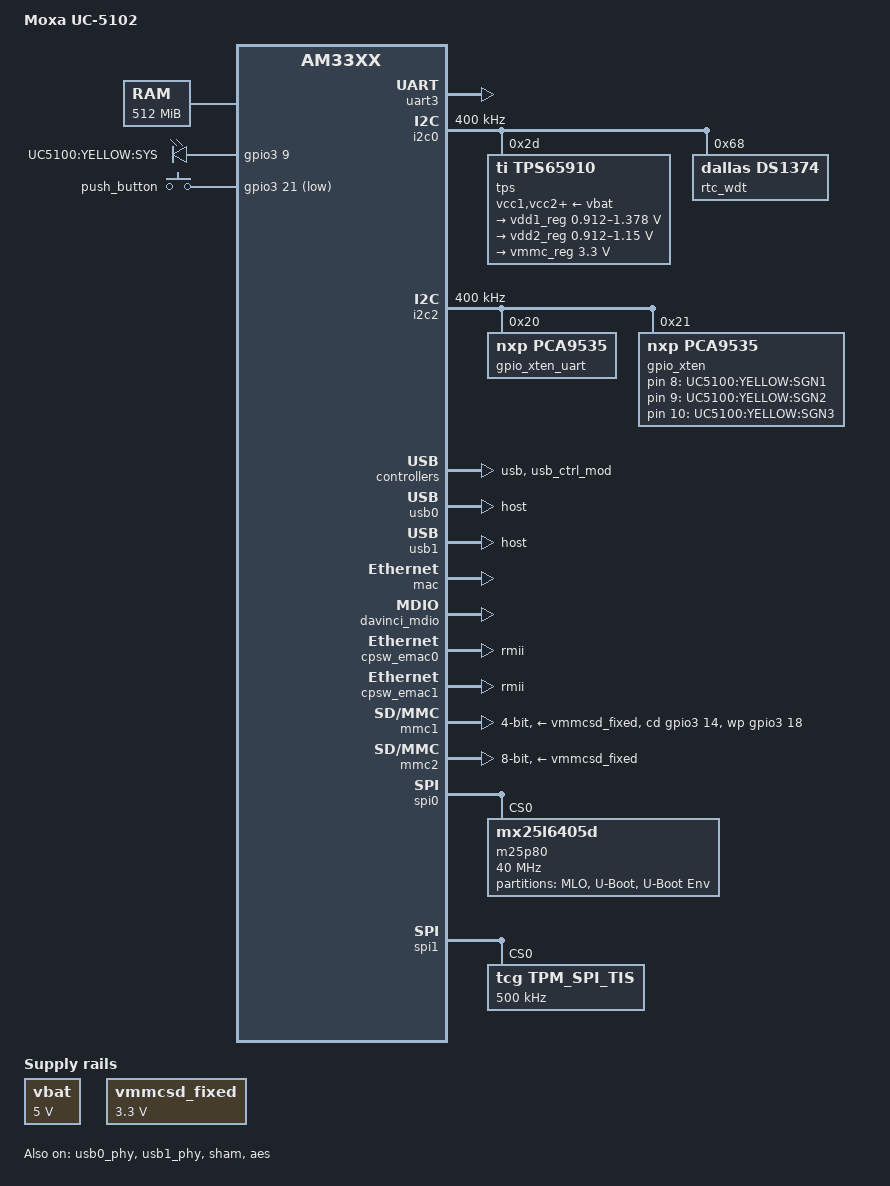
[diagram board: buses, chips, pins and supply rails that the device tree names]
/*
 * Copyright (C) 2017 MOXA Inc. - https://www.moxa.com/
 *
 * Author: Wes Huang (黃淵河) <wes.huang@moxa.com>
 *
 * This program is free software; you can redistribute it and/or modify
 * it under the terms of the GNU General Public License version 2 as
 * published by the Free Software Foundation.
 */

/dts-v1/;

#include "am33xx.dtsi"

/ {
	model = "Moxa UC-5102";
	compatible = "moxa,uc-5102", "ti,am33xx";

	cpus {
		cpu@0 {
			cpu0-supply = <&vdd1_reg>;
		};
	};

	cpu0_opp_table: opp_table0 {
		opp50@300000000 {
			status = "okay";
		};

		opp100@275000000 {
			status = "disabled";
		};

		opp100@300000000 {
			status = "disabled";
		};

		opp100@500000000 {
			status = "disabled";
		};

		opp100@600000000 {
			status = "okay";
		};

		opp120@600000000 {
			status = "disabled";
		};

		opp120@720000000 {
			status = "okay";
		};

		oppturbo@720000000 {
			status = "disabled";
		};

		oppturbo@800000000 {
			status = "disabled";
		};

		oppnitro@1000000000 {
			status = "okay";
		};
	};

	memory {
		device_type = "memory";
		reg = <0x80000000 0x20000000>; /* 512 MB */
	};

	vbat: fixedregulator@0 {
		compatible = "regulator-fixed";
	};

	/* Power supply provides a fixed 3.3V @3A */
	vmmcsd_fixed: fixedregulator@1 {
	      compatible = "regulator-fixed";
	      regulator-name = "vmmcsd_fixed";
	      regulator-min-microvolt = <3300000>;
	      regulator-max-microvolt = <3300000>;
	      regulator-boot-on;
	};

	leds {
		compatible = "gpio-leds";

		led@1 {
			label = "UC5100:YELLOW:SGN1";
			gpios = <&gpio_xten 8 0>;
			default-state = "off";
		};

		led@2 {
			label = "UC5100:YELLOW:SGN2";
			gpios = <&gpio_xten 9 0>;
			default-state = "off";
		};

		led@3 {
			label = "UC5100:YELLOW:SGN3";
			gpios = <&gpio_xten 10 0>;
			default-state = "off";
		};

		led@4 {
			label = "UC5100:YELLOW:SYS";
			gpios = <&gpio3 9 GPIO_ACTIVE_HIGH>;
			default-state = "off";
		};
	};

	buttons: push_button {
		compatible = "gpio-keys";
	};
};

&am33xx_pinmux {
	pinctrl-names = "default";

	push_button_pins: pinmux_push_button {
		pinctrl-single,pins = <
			AM33XX_IOPAD(0x9ac, PIN_INPUT_PULLUP | MUX_MODE7)  /* mcasp0_ahcklx.gpio3_21 */
		>;
	};

	i2c0_pins: pinmux_i2c0_pins {
		pinctrl-single,pins = <
			AM33XX_IOPAD(0x988, PIN_INPUT_PULLUP | MUX_MODE0)    /* i2c0_sda.i2c0_sda */
			AM33XX_IOPAD(0x98c, PIN_INPUT_PULLUP | MUX_MODE0)    /* i2c0_scl.i2c0_scl */
		>;
	};

	i2c2_pins: pinmux_i2c2_pins {
		pinctrl-single,pins = <
			AM33XX_IOPAD(0x978, PIN_INPUT_PULLUP | MUX_MODE3)	/* uart1_ctsn.i2c2_sda */
			AM33XX_IOPAD(0x97C, PIN_INPUT_PULLUP | MUX_MODE3)	/* uart1_rtsn.i2c2_scl*/
		>;
	};

	uart3_pins: pinmux_uart3_pins {
		/* Console */
		pinctrl-single,pins = <
			AM33XX_IOPAD(0x934, PIN_INPUT_PULLUP | MUX_MODE1)	/* mii1_rxd3.uart3_rxd */
			AM33XX_IOPAD(0x938, PIN_OUTPUT_PULLDOWN | MUX_MODE1)	/* mii1_rxd2.uart3_txd */
		>;
	};

	cpsw_default: cpsw_default {
		pinctrl-single,pins = <
			/* Slave 1 */
			AM33XX_IOPAD(0x90c, PIN_INPUT_PULLDOWN | MUX_MODE1)    	/* mii1_crs.rmii1_crs_dv */
			AM33XX_IOPAD(0x910, PIN_INPUT_PULLUP | MUX_MODE1)    	/* mii1_rx_er.rmii1_rxerr */
			AM33XX_IOPAD(0x914, PIN_OUTPUT_PULLDOWN | MUX_MODE1)   	/* mii1_tx_en.rmii1_rxen */
			AM33XX_IOPAD(0x924, PIN_OUTPUT_PULLDOWN | MUX_MODE1)  	/* mii1_txd1.rmii1_txd1 */
			AM33XX_IOPAD(0x928, PIN_OUTPUT_PULLDOWN | MUX_MODE1)	/* mii1_txd0.rmii1_txd0 */
			AM33XX_IOPAD(0x93c, PIN_INPUT_PULLUP | MUX_MODE1)    	/* mii1_rxd1.rmii1_rxd1 */
			AM33XX_IOPAD(0x940, PIN_INPUT_PULLUP | MUX_MODE1)    	/* mi11_rxd0.rmii1_rxd0 */
			AM33XX_IOPAD(0x944, PIN_INPUT_PULLDOWN | MUX_MODE0)    	/* rmii1_ref_clk.rmii1_ref_clk */

			/* Slave 2 */
			AM33XX_IOPAD(0x870, PIN_INPUT_PULLDOWN | MUX_MODE3)   	/* gpmc_wait0.rmii2_crs_dv */
			AM33XX_IOPAD(0x874, PIN_INPUT_PULLDOWN | MUX_MODE3)   	/* gpmc_wpn.rmii2_rxerr */
			AM33XX_IOPAD(0x840, PIN_OUTPUT_PULLDOWN | MUX_MODE3)   	/* gpmc_a0.rmii2_txen */
			AM33XX_IOPAD(0x850, PIN_OUTPUT_PULLDOWN | MUX_MODE3)   	/* gpmc_a4.rmii2_txd1 */
			AM33XX_IOPAD(0x854, PIN_OUTPUT_PULLDOWN | MUX_MODE3)   	/* gpmc_a5.rmii2_txd0 */
			AM33XX_IOPAD(0x868, PIN_INPUT_PULLDOWN | MUX_MODE3)   	/* gpmc_a10.rmii2_rxd1 */
			AM33XX_IOPAD(0x86c, PIN_INPUT_PULLDOWN | MUX_MODE3)   	/* gpmc_a10.rmii2_rxd0 */
			AM33XX_IOPAD(0x908, PIN_INPUT_PULLDOWN | MUX_MODE1)   	/* mii1_col.rmii2_ref_clk */
		>;
	};

	davinci_mdio_default: davinci_mdio_default {
		pinctrl-single,pins = <
			/* MDIO */
			AM33XX_IOPAD(0x948, PIN_INPUT_PULLUP | SLEWCTRL_FAST | MUX_MODE0)	/* mdio_data.mdio_data */
			AM33XX_IOPAD(0x94c, PIN_OUTPUT_PULLUP | MUX_MODE0)			/* mdio_clk.mdio_clk */
		>;
	};

	mmc0_pins_default: pinmux_mmc0_pins {
	pinctrl-single,pins = <
			AM33XX_IOPAD(0x8f0, PIN_INPUT_PULLUP | MUX_MODE0)     	/* mmc0_dat3.mmc0_dat3 */
			AM33XX_IOPAD(0x8f4, PIN_INPUT_PULLUP | MUX_MODE0)     	/* mmc0_dat2.mmc0_dat2 */
			AM33XX_IOPAD(0x8f8, PIN_INPUT_PULLUP | MUX_MODE0)     	/* mmc0_dat1.mmc0_dat1 */
			AM33XX_IOPAD(0x8fc, PIN_INPUT_PULLUP | MUX_MODE0)     	/* mmc0_dat0.mmc0_dat0 */
			AM33XX_IOPAD(0x900, PIN_INPUT_PULLUP | MUX_MODE0)    	/* mmc0_clk.mmc0_clk. */
			AM33XX_IOPAD(0x904, PIN_INPUT_PULLUP | MUX_MODE0)   	/* mmc0_cmd.mmc0_cmd. */
			AM33XX_IOPAD(0x990, PIN_INPUT_PULLUP | MUX_MODE7)	/* mcasp0_aclkx.mmc0_sdcd */
			AM33XX_IOPAD(0x9a0, PIN_INPUT_PULLUP | MUX_MODE7)	/* mcasp0_aclkx.mmc0_sdwp */
		>;
	};

	mmc1_pins_default: pinmux_mmc1_pins {	/* done */
		pinctrl-single,pins = <
			/* eMMC */
			AM33XX_IOPAD(0x820, PIN_INPUT_PULLUP | MUX_MODE2)	/* gpmc_ad8.mmc1_dat0 */
			AM33XX_IOPAD(0x824, PIN_INPUT_PULLUP | MUX_MODE2)	/* gpmc_ad9.mmc1_dat1 */
			AM33XX_IOPAD(0x828, PIN_INPUT_PULLUP | MUX_MODE2)	/* gpmc_ad10.mmc1_dat2 */
			AM33XX_IOPAD(0x82c, PIN_INPUT_PULLUP | MUX_MODE2)	/* gpmc_ad11.mmc1_dat3 */
			AM33XX_IOPAD(0x830, PIN_INPUT_PULLUP | MUX_MODE2)	/* gpmc_ad12.mmc1_dat4 */
			AM33XX_IOPAD(0x834, PIN_INPUT_PULLUP | MUX_MODE2)	/* gpmc_ad13.mmc1_dat5 */
			AM33XX_IOPAD(0x838, PIN_INPUT_PULLUP | MUX_MODE2)	/* gpmc_ad14.mmc1_dat6 */
			AM33XX_IOPAD(0x83c, PIN_INPUT_PULLUP | MUX_MODE2)	/* gpmc_ad15.mmc1_dat7 */
			AM33XX_IOPAD(0x880, PIN_INPUT_PULLUP | MUX_MODE2)	/* gpmc_csn1.mmc1_clk */
			AM33XX_IOPAD(0x884, PIN_INPUT_PULLUP | MUX_MODE2)	/* gpmc_csn2.mmc1_cmd */
		>;
	};

	spi0_pins: pinmux_spi0 {
		pinctrl-single,pins = <
			AM33XX_IOPAD(0x950, PIN_INPUT_PULLUP | MUX_MODE0) /* spi0_sclk.spi0_sclk */
			AM33XX_IOPAD(0x95c, PIN_INPUT_PULLUP | MUX_MODE0) /* spi0_cs0.spi0_cs0 */
			AM33XX_IOPAD(0x954, PIN_INPUT_PULLUP | MUX_MODE0) /* spi0_d0.spi0_d0 */
			AM33XX_IOPAD(0x958, PIN_INPUT_PULLUP | MUX_MODE0) /* spi0_d1.spi0_d1 */
		>;
	};

	spi1_pins: pinmux_spi1 {
		pinctrl-single,pins = <
			/* TPM 2.0 */
			AM33XX_IOPAD(0x964, PIN_INPUT_PULLUP | MUX_MODE4) /* ecap0_in_pwm0_out.spi1_sclk */
			AM33XX_IOPAD(0x968, PIN_INPUT_PULLUP | MUX_MODE4) /* uart0_ctsn.spi1_d0 */
			AM33XX_IOPAD(0x96c, PIN_INPUT_PULLUP | MUX_MODE4) /* uart0_rtsn.spi1_d1 */
			AM33XX_IOPAD(0x970, PIN_INPUT_PULLUP | MUX_MODE1) /* uart0_rxd.spi1_cs0 */
		>;
	};
};

&uart3 {
	/* Console */
	status = "okay";
	pinctrl-names = "default";
	pinctrl-0 = <&uart3_pins>;
};

&i2c0 {
	pinctrl-names = "default";
	pinctrl-0 = <&i2c0_pins>;

	status = "okay";
	clock-frequency = <400000>;

	tps: tps@2d {
		compatible = "ti,tps65910";
		reg = <0x2d>;
	};

	rtc_wdt: rtc_wdt@68 {
		compatible = "dallas,ds1374";
		reg = <0x68>;
	};
};

&i2c2 {
	pinctrl-names = "default";
	pinctrl-0 = <&i2c2_pins>;

	status = "okay";
	clock-frequency = <400000>;

	gpio_xten_uart: gpio_xten_uart@20 {
		compatible = "nxp,pca9535";
		gpio-controller;
		#gpio-cells = <2>;
		reg = <0x20>;
	};

	gpio_xten: gpio_xten@21 {
		compatible = "nxp,pca9535";
		gpio-controller;
		#gpio-cells = <2>;
		reg = <0x21>;
	};
};

&usb {
	status = "okay";
};

&usb_ctrl_mod {
	status = "okay";
};

&usb0_phy {
	status = "okay";
};

&usb1_phy {
	status = "okay";
};

&usb0 {
	status = "okay";
	dr_mode = "host";
};

&usb1 {
	status = "okay";
	dr_mode = "host";
};

&cppi41dma  {
	status = "okay";
};

#include "tps65910.dtsi"

&tps {
	vcc1-supply = <&vbat>;
	vcc2-supply = <&vbat>;
	vcc3-supply = <&vbat>;
	vcc4-supply = <&vbat>;
	vcc5-supply = <&vbat>;
	vcc6-supply = <&vbat>;
	vcc7-supply = <&vbat>;
	vccio-supply = <&vbat>;

	regulators {
		vrtc_reg: regulator@0 {
			regulator-always-on;
		};

		vio_reg: regulator@1 {
			regulator-always-on;
		};

		vdd1_reg: regulator@2 {
			/* VDD_MPU voltage limits 0.95V - 1.26V with +/-4% tolerance */
			regulator-name = "vdd_mpu";
			regulator-min-microvolt = <912500>;
			regulator-max-microvolt = <1378000>;
			regulator-boot-on;
			regulator-always-on;
		};

		vdd2_reg: regulator@3 {
			/* VDD_CORE voltage limits 0.95V - 1.1V with +/-4% tolerance */
			regulator-name = "vdd_core";
			regulator-min-microvolt = <912500>;
			regulator-max-microvolt = <1150000>;
			regulator-boot-on;
			regulator-always-on;
		};

		vdd3_reg: regulator@4 {
			regulator-always-on;
		};

		vdig1_reg: regulator@5 {
			regulator-always-on;
		};

		vdig2_reg: regulator@6 {
			regulator-always-on;
		};

		vpll_reg: regulator@7 {
			regulator-always-on;
		};

		vdac_reg: regulator@8 {
			regulator-always-on;
		};

		vaux1_reg: regulator@9 {
			regulator-always-on;
		};

		vaux2_reg: regulator@10 {
			regulator-always-on;
		};

		vaux33_reg: regulator@11 {
			regulator-always-on;
		};

		vmmc_reg: regulator@12 {
			compatible = "regulator-fixed";
			regulator-name = "vmmc_reg";
			regulator-min-microvolt = <3300000>;
			regulator-max-microvolt = <3300000>;
			regulator-always-on;
		};
	};
};


/* Power */
&vbat {
	regulator-name = "vbat";
	regulator-min-microvolt = <5000000>;
	regulator-max-microvolt = <5000000>;
};

&mac {
	pinctrl-names = "default";
	pinctrl-0 = <&cpsw_default>;
	dual_emac = <1>;
	status = "okay";
};

&davinci_mdio {
	pinctrl-names = "default";
	pinctrl-0 = <&davinci_mdio_default>;
	status = "okay";
};

&cpsw_emac0 {
	status = "okay";
	phy_id = <&davinci_mdio>, <4>;
	phy-mode = "rmii";
	dual_emac_res_vlan = <1>;
};

&cpsw_emac1 {
	status = "okay";
	phy_id = <&davinci_mdio>, <5>;
	phy-mode = "rmii";
	dual_emac_res_vlan = <2>;
};

&phy_sel {
	reg= <0x44e10650 0xf5>;
	rmii-clock-ext;
};

&sham {
	status = "okay";
};

&aes {
	status = "okay";
};

&gpio0 {
	ti,no-reset-on-init;
};

&mmc1 {
	pinctrl-names = "default";
	vmmc-supply = <&vmmcsd_fixed>;
	bus-width = <4>;
	pinctrl-0 = <&mmc0_pins_default>;
	cd-gpios = <&gpio3 14 GPIO_ACTIVE_HIGH>;
	wp-gpios = <&gpio3 18 GPIO_ACTIVE_HIGH>;
	status = "okay";
};

&mmc2 {
	pinctrl-names = "default";
	vmmc-supply = <&vmmcsd_fixed>;
	bus-width = <8>;
	pinctrl-0 = <&mmc1_pins_default>;
	ti,non-removable;
	status = "okay";
};

&buttons {
	pinctrl-names = "default";
	pinctrl-0 = <&push_button_pins>;
	#address-cells = <1>;
	#size-cells = <0>;

	button@0 {
		label = "push_button";
		linux,code = <0x100>;
		gpios = <&gpio3 21 GPIO_ACTIVE_LOW>;
	};
};

/* SPI Busses */
&spi0 {
	status = "okay";
	pinctrl-names = "default";
	pinctrl-0 = <&spi0_pins>;

	m25p80@0 {
		compatible = "mx25l6405d";
		spi-max-frequency = <40000000>;

		reg = <0>;
		spi-cpol;
		spi-cpha;

		partitions {
			compatible = "fixed-partitions";
			#address-cells = <1>;
			#size-cells = <1>;

			/* reg : The partition's offset and size within the mtd bank. */
			partitions@0 {
				label = "MLO";
				reg = <0x0 0x80000>;
			};

			partitions@1 {
				label = "U-Boot";
				reg = <0x80000 0x100000>;
			};

			partitions@2 {
				label = "U-Boot Env";
				reg = <0x180000 0x40000>;
			};
		};
	};
};

&spi1{
	status = "okay";
	pinctrl-names = "default";
	pinctrl-0 = <&spi1_pins>;
	tpm_spi_tis@0{
		compatible = "tcg,tpm_spi_tis";
		reg = <0>;
		spi-max-frequency = <500000>;
	};
};
